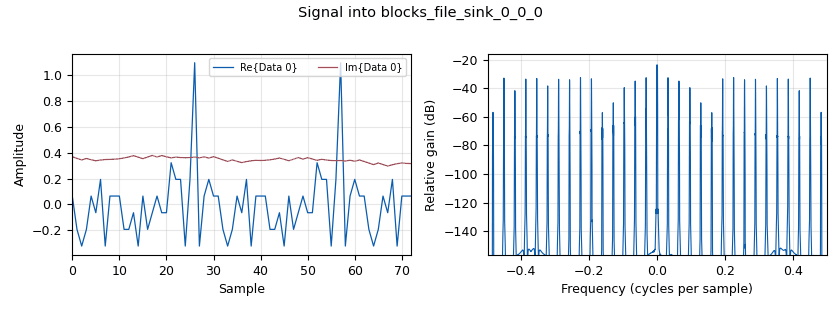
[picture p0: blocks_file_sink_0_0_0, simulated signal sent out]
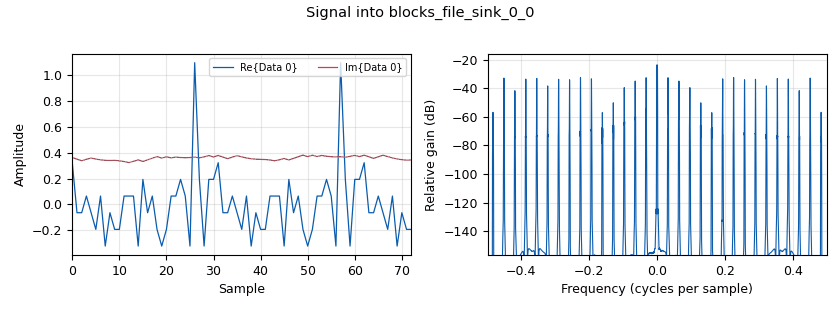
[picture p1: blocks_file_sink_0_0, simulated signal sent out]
<?xml version='1.0' encoding='utf-8'?>
<flow_graph>
<block>
<key>options</key>
<param><key>id</key><value>top_block</value></param>
<param><key>generate_options</key><value>wx_gui</value></param>
<param><key>category</key><value>Custom</value></param>
</block>
<block>
<key>variable</key>
<param><key>id</key><value>samp_rate</value></param>
<param><key>value</key><value>32000</value></param>
</block>
<block>
<key>blocks_file_sink</key>
<param><key>id</key><value>blocks_file_sink_0_0_0</value></param>
<param><key>file</key><value>/home/nest/Projects/gr-marmote/apps/pn_correlator_out_53.dat</value></param>
<param><key>type</key><value>complex</value></param>
<param><key>unbuffered</key><value>True</value></param>
</block>
<block>
<key>blocks_file_sink</key>
<param><key>id</key><value>blocks_file_sink_0_0</value></param>
<param><key>file</key><value>/home/nest/Projects/gr-marmote/apps/pn_correlator_out_52.dat</value></param>
<param><key>type</key><value>complex</value></param>
<param><key>unbuffered</key><value>True</value></param>
</block>
<block>
<key>blocks_file_sink</key>
<param><key>id</key><value>blocks_file_sink_0</value></param>
<param><key>file</key><value>/home/nest/Projects/gr-marmote/apps/pn_code_out.dat</value></param>
<param><key>type</key><value>float</value></param>
<param><key>unbuffered</key><value>True</value></param>
</block>
<block>
<key>digital_pn_correlator_cc</key>
<param><key>id</key><value>digital_pn_correlator_cc_0</value></param>
<param><key>degree</key><value>5</value></param>
<param><key>mask</key><value>0x12</value></param>
<param><key>seed</key><value>1</value></param>
</block>
<block>
<key>digital_pn_correlator_cc</key>
<param><key>id</key><value>digital_pn_correlator_cc_0_0</value></param>
<param><key>degree</key><value>5</value></param>
<param><key>mask</key><value>0x14</value></param>
<param><key>seed</key><value>1</value></param>
</block>
<block>
<key>blocks_float_to_complex</key>
<param><key>id</key><value>blocks_float_to_complex_0</value></param>
</block>
<block>
<key>digital_glfsr_source_x</key>
<param><key>id</key><value>digital_glfsr_source_x_0</value></param>
<param><key>type</key><value>float</value></param>
<param><key>degree</key><value>5</value></param>
<param><key>repeat</key><value>True</value></param>
<param><key>mask</key><value>0x12</value></param>
<param><key>seed</key><value>0X10</value></param>
</block>
<block>
<key>blocks_throttle</key>
<param><key>id</key><value>blocks_throttle_0</value></param>
<param><key>type</key><value>float</value></param>
<param><key>samples_per_second</key><value>samp_rate</value></param>
</block>
<block>
<key>analog_sig_source_x</key>
<param><key>id</key><value>analog_sig_source_x_0</value></param>
<param><key>type</key><value>float</value></param>
<param><key>samp_rate</key><value>samp_rate</value></param>
<param><key>waveform</key><value>analog.GR_COS_WAVE</value></param>
<param><key>freq</key><value>1000</value></param>
<param><key>amp</key><value>1</value></param>
<param><key>offset</key><value>0</value></param>
</block>
<block>
<key>blocks_throttle</key>
<param><key>id</key><value>blocks_throttle_0_0</value></param>
<param><key>type</key><value>float</value></param>
<param><key>samples_per_second</key><value>samp_rate</value></param>
</block>
<block>
<key>analog_sig_source_x</key>
<param><key>id</key><value>analog_sig_source_x_0_0</value></param>
<param><key>type</key><value>float</value></param>
<param><key>samp_rate</key><value>samp_rate</value></param>
<param><key>waveform</key><value>analog.GR_COS_WAVE</value></param>
<param><key>freq</key><value>1000</value></param>
<param><key>amp</key><value>1</value></param>
<param><key>offset</key><value>0</value></param>
</block>
<block>
<key>blocks_float_to_complex</key>
<param><key>id</key><value>blocks_float_to_complex_0_0</value></param>
</block>
<block>
<key>blocks_add_xx</key>
<param><key>id</key><value>blocks_add_xx_0</value></param>
<param><key>type</key><value>complex</value></param>
</block>
<block>
<key>digital_glfsr_source_x</key>
<param><key>id</key><value>digital_glfsr_source_x_0_0</value></param>
<param><key>type</key><value>float</value></param>
<param><key>degree</key><value>5</value></param>
<param><key>repeat</key><value>True</value></param>
<param><key>mask</key><value>0x14</value></param>
<param><key>seed</key><value>0X10</value></param>
</block>
<connection><source_block_id>digital_pn_correlator_cc_0_0</source_block_id><sink_block_id>blocks_file_sink_0_0_0</sink_block_id><source_key>0</source_key><sink_key>0</sink_key></connection>
<connection><source_block_id>digital_pn_correlator_cc_0</source_block_id><sink_block_id>blocks_file_sink_0_0</sink_block_id><source_key>0</source_key><sink_key>0</sink_key></connection>
<connection><source_block_id>blocks_float_to_complex_0</source_block_id><sink_block_id>blocks_add_xx_0</sink_block_id><source_key>0</source_key><sink_key>0</sink_key></connection>
<connection><source_block_id>blocks_add_xx_0</source_block_id><sink_block_id>digital_pn_correlator_cc_0</sink_block_id><source_key>0</source_key><sink_key>0</sink_key></connection>
<connection><source_block_id>blocks_add_xx_0</source_block_id><sink_block_id>digital_pn_correlator_cc_0_0</sink_block_id><source_key>0</source_key><sink_key>0</sink_key></connection>
<connection><source_block_id>blocks_throttle_0</source_block_id><sink_block_id>blocks_float_to_complex_0</sink_block_id><source_key>0</source_key><sink_key>0</sink_key></connection>
<connection><source_block_id>analog_sig_source_x_0</source_block_id><sink_block_id>blocks_float_to_complex_0</sink_block_id><source_key>0</source_key><sink_key>1</sink_key></connection>
<connection><source_block_id>blocks_throttle_0</source_block_id><sink_block_id>blocks_file_sink_0</sink_block_id><source_key>0</source_key><sink_key>0</sink_key></connection>
<connection><source_block_id>digital_glfsr_source_x_0</source_block_id><sink_block_id>blocks_throttle_0</sink_block_id><source_key>0</source_key><sink_key>0</sink_key></connection>
<connection><source_block_id>blocks_throttle_0_0</source_block_id><sink_block_id>blocks_float_to_complex_0_0</sink_block_id><source_key>0</source_key><sink_key>0</sink_key></connection>
<connection><source_block_id>analog_sig_source_x_0_0</source_block_id><sink_block_id>blocks_float_to_complex_0_0</sink_block_id><source_key>0</source_key><sink_key>1</sink_key></connection>
<connection><source_block_id>digital_glfsr_source_x_0_0</source_block_id><sink_block_id>blocks_throttle_0_0</sink_block_id><source_key>0</source_key><sink_key>0</sink_key></connection>
<connection><source_block_id>blocks_float_to_complex_0_0</source_block_id><sink_block_id>blocks_add_xx_0</sink_block_id><source_key>0</source_key><sink_key>1</sink_key></connection>
</flow_graph>
